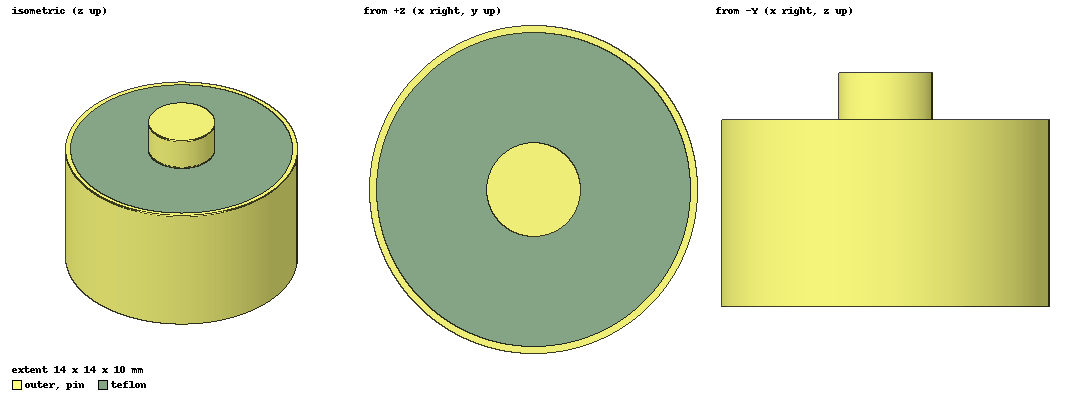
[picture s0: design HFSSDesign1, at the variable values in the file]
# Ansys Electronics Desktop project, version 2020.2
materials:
  vacuum: permittivity=1
  pec: conductivity=1e+30
  Teflon (tm): permittivity=2.1 dielectric_loss_tangent=0.001

design HFSSDesign1 (HFSS, DrivenModal, model units mm)
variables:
  pin_R = 2mm
  pinH = 10mm
  teflon_R = 6.7mm
  teflonH = 8mm
  outer_R = 7mm
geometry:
  pin [pec] = cylinder(axis=Z, base_centre=(0mm, 0mm, 0mm), radius=pin_R, height=pinH)
  teflon [Teflon (tm)] = cylinder(axis=Z, base_centre=(0mm, 0mm, 0mm), radius=teflon_R, height=teflonH)
  pin1 = cylinder(axis=Z, base_centre=(0mm, 0mm, 0mm), radius=pin_R, height=pinH)
  teflon.subtract(pin1)
  teflon1 = cylinder(axis=Z, base_centre=(0mm, 0mm, 0mm), radius=teflon_R, height=teflonH)
  pin2 = cylinder(axis=Z, base_centre=(0mm, 0mm, 0mm), radius=pin_R, height=pinH)
  teflon1.subtract(pin2)
  outer [pec] = cylinder(axis=Z, base_centre=(0mm, 0mm, 0mm), radius=outer_R, height=teflonH)
  outer.subtract(teflon1)
  pin3 = cylinder(axis=Z, base_centre=(0mm, 0mm, 0mm), radius=pin_R, height=pinH)
  outer.subtract(pin3)
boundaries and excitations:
  1: Wave Port Faces=teflon.face(2 of 3) NumModes=1 Modes{Mode1{IntLine{teflon.vertex(1 of 2) -> teflon.vertex(#79)} CharImp=Zpi}}
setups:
  Setup1: HfssDriven Frequency=1GHz MaxDeltaS=0.02 MaximumPasses=6 MinimumPasses=1 MinimumConvergedPasses=1 PercentRefinement=30 BasisOrder=1 PortAccuracy=2
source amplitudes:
  1:1: 1W 0deg
